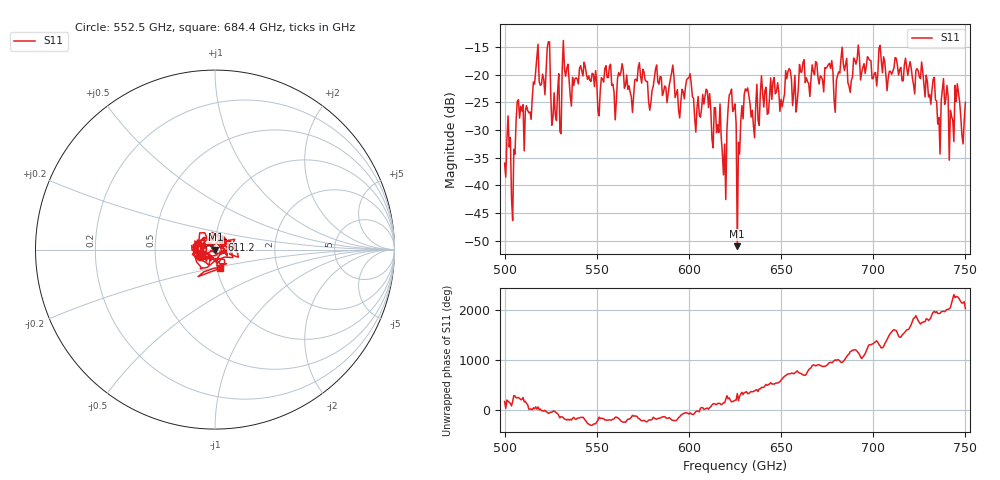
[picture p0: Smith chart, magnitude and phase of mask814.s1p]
!Created with skrf (http://scikit-rf.org).
# GHz S MA R 50.0
!freq magS11 angS11
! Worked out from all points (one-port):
!   401 points, 500 GHz to 750 GHz, reference 50 ohm
!   lowest |S11| = -51.0 dB at 626.2 GHz (marker M1), VSWR 1.01, Z = 50.3 - j0.116 ohm
!   |S11| at or under -10 dB: start of sweep to end of sweep
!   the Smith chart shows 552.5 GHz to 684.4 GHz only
!   S11 on the Smith chart (normalised r, x): 552.5 GHz: 0.84, -0.07; 611.2 GHz: 1.07, +0.12; 684.4 GHz: 1.04, -0.22
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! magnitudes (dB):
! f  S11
! 500 GHz  -36.0
! 504.4 GHz  -46.3
! 507.5 GHz  -24.5
! 513.8 GHz  -26.7
! 516.9 GHz  -19.3
! 523.8 GHz  -14.0
! 526.9 GHz  -23.3
! 531.2 GHz  -18.9
! 552.5 GHz  -20.5
! 562.5 GHz  -20.2
! 593.8 GHz  -22.7
! 600 GHz  -20.6
! 611.2 GHz  -23.4
! 618.8 GHz  -38.1
! 622.5 GHz  -23.4
! 625 GHz  -25.3
! 626.2 GHz  -51.0
! 631.2 GHz  -22.9
! 635 GHz  -29.2
! 656.2 GHz  -25.6
! 684.4 GHz  -19.2
! 687.5 GHz  -23.2
! 718.8 GHz  -20.1
! 735 GHz  -28.9
! 738.8 GHz  -25.3
! 742.5 GHz  -27.5
! 745.6 GHz  -21.6
! 750 GHz  -25.0
